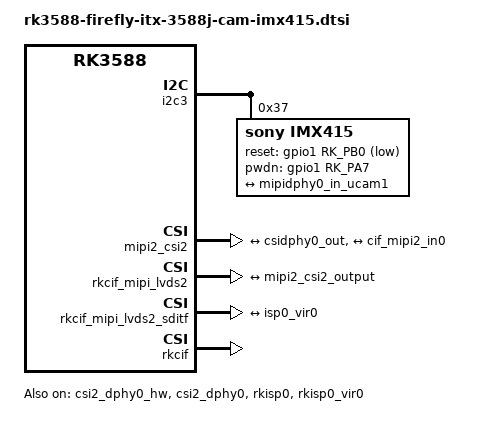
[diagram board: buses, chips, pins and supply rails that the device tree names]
// SPDX-License-Identifier: (GPL-2.0+ OR MIT)
/*
 * Copyright (c) 2021 Rockchip Electronics Co., Ltd.
 *
 */

&i2c3 {
	status = "okay";

	IMX415: IMX415@37{
		status = "okay";
		compatible = "sony,imx415";
		reg = <0x37>;
		clocks = <&cru CLK_MIPI_CAMARAOUT_M3>;
		clock-names = "xvclk";
		pinctrl-names = "default";
		pinctrl-0 = <&mipim0_camera3_clk>;
		power-domains = <&power RK3588_PD_VI>;
                
		reset-gpios = <&gpio1 RK_PB0 GPIO_ACTIVE_LOW>;
		pwdn-gpios = <&gpio1 RK_PA7 GPIO_ACTIVE_HIGH>;
               
		rockchip,camera-module-index = <0>;
		rockchip,camera-module-facing = "front";
		rockchip,camera-module-name = "CMK-OT2022-PX1";
		rockchip,camera-module-lens-name = "IR0147-50IRC-8M-F20";

		port {
			imx415_out: endpoint {
				remote-endpoint = <&mipidphy0_in_ucam1>;
				data-lanes = <1 2 3 4>;
			};
		};
	};
};

&csi2_dphy0_hw {
	status = "okay";
};

&csi2_dphy0 {
	status = "okay";
	ports {
		#address-cells = <1>;
		#size-cells = <0>;
		port@0 {
			reg = <0>;
			#address-cells = <1>;
			#size-cells = <0>;
			mipidphy0_in_ucam1: endpoint@1 {
				reg = <1>;
				remote-endpoint = <&imx415_out>;
				data-lanes = <1 2 3 4>;
			};
		};
		port@1 {
			reg = <1>;
			#address-cells = <1>;
			#size-cells = <0>;
			csidphy0_out: endpoint@0 {
				reg = <0>;
				remote-endpoint = <&mipi2_csi2_input>;
			};
		};
	};
};

&mipi2_csi2 {
	status = "okay";
	ports {
		#address-cells = <1>;
		#size-cells = <0>;
		port@0 {
			reg = <0>;
			#address-cells = <1>;
			#size-cells = <0>;
			mipi2_csi2_input: endpoint@0 {
				reg = <0>;
				remote-endpoint = <&csidphy0_out>;
			};
		};

		port@1 {
			reg = <1>;
			#address-cells = <1>;
			#size-cells = <0>;

			mipi2_csi2_output: endpoint@0 {
				reg = <0>;
				remote-endpoint = <&cif_mipi2_in0>;
			};
		};
	};
};

&rkcif_mipi_lvds2 {
	status = "okay";
	port {
		cif_mipi2_in0: endpoint {
			remote-endpoint = <&mipi2_csi2_output>;
		};
	};
};

&rkcif_mipi_lvds2_sditf {
	status = "okay";
	port {
		mipi_lvds2_sditf: endpoint {
			remote-endpoint = <&isp0_vir0>;
		};	
	};
};

&rkisp0 {
	status = "okay";
};

&isp0_mmu {
	status = "okay";
};

&rkisp0_vir0 {
	status = "okay";
	port {
		#address-cells = <1>;
		#size-cells = <0>;
		isp0_vir0: endpoint@0 {
			reg = <0>;
			remote-endpoint = <&mipi_lvds2_sditf>;
		};
	};
};

&rkcif {
	status = "okay";
};

&rkcif_mmu {
	status = "okay";
};



